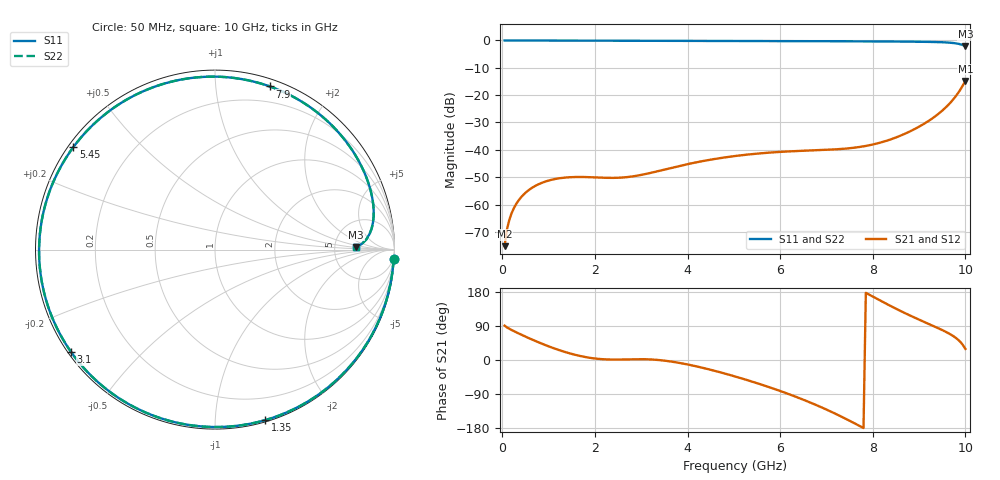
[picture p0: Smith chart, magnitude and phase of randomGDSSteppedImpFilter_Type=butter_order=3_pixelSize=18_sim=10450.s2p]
! freq	dB(S11)	phase(S11)	dB(S12)	phase(S12)
!  dB(S21)	phase(S21)	dB(S22)	phase(S22)
!S-par simulation data
#  GHz  S  DB  R 50
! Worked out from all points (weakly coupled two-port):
!   200 points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, 50 MHz to 10 GHz, reference 50 ohm
!   highest |S21| = -14.87 dB at 10 GHz (marker M1); lowest = -75.2 dB at 50 MHz (marker M2)
!   lowest |S11| = -2.1 dB at 10 GHz (marker M3), VSWR 8.33, Z = 414 + j33 ohm
!   |S11| at or under -10 dB: nowhere
!   |S22| runs from -2.1 to 0.0 dB; largest |S21 - S12| = 0
!   S11 on the Smith chart (normalised r, x): 50 MHz: 3, -38; 1.35 GHz: 0.01, -1.34; 3.1 GHz: 0.01, -0.32; 5.45 GHz: 0.01, +0.32; 7.9 GHz: 0.06, +1.39; 10 GHz: 8.28, +0.66
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0.05  -0.03 -3.0  -75.19 90.7  -75.19 90.7  -0.03 -3.0
0.1  -0.03 -5.8  -69.15 86.0  -69.15 86.0  -0.03 -5.8
0.15  -0.03 -8.7  -65.65 82.5  -65.65 82.5  -0.03 -8.7
0.25  -0.04 -14.4  -61.30 76.2  -61.30 76.2  -0.04 -14.5
0.4  -0.04 -23.0  -57.44 67.4  -57.44 67.4  -0.04 -23.0
0.8  -0.06 -45.2  -52.43 45.8  -52.43 45.8  -0.06 -45.3
1.35  -0.08 -73.6  -50.14 21.3  -50.14 21.3  -0.08 -73.6
1.75  -0.10 -92.2  -49.92 8.8  -49.92 8.8  -0.10 -92.2
2.45  -0.12 -121.1  -50.22 1.1  -50.22 1.1  -0.12 -121.2
3.1  -0.14 -144.6  -48.81 2.0  -48.81 2.0  -0.14 -144.6
3.4  -0.15 -154.6  -47.62 -0.3  -47.62 -0.3  -0.15 -154.6
4.2  -0.17 -179.5  -44.52 -17.0  -44.52 -17.0  -0.17 -179.5
5.05  -0.21 155.6  -42.20 -44.3  -42.20 -44.3  -0.21 155.6
5.45  -0.23 144.2  -41.46 -59.2  -41.46 -59.2  -0.23 144.1
6.7  -0.29 107.9  -40.20 -114.8  -40.20 -114.8  -0.29 107.9
7.3  -0.32 89.9  -39.70 -148.1  -39.70 -148.1  -0.32 89.9
7.9  -0.36 71.4  -38.41 173.9  -38.41 173.9  -0.36 71.4
8.35  -0.40 57.3  -36.39 144.8  -36.39 144.8  -0.40 57.3
8.9  -0.48 39.6  -32.44 112.0  -32.44 112.0  -0.48 39.6
9.4  -0.62 22.8  -27.07 84.8  -27.07 84.8  -0.62 22.7
9.75  -0.98 9.7  -21.31 62.1  -21.31 62.1  -0.98 9.7
10  -2.09 1.1  -14.87 29.4  -14.87 29.4  -2.09 1.1
